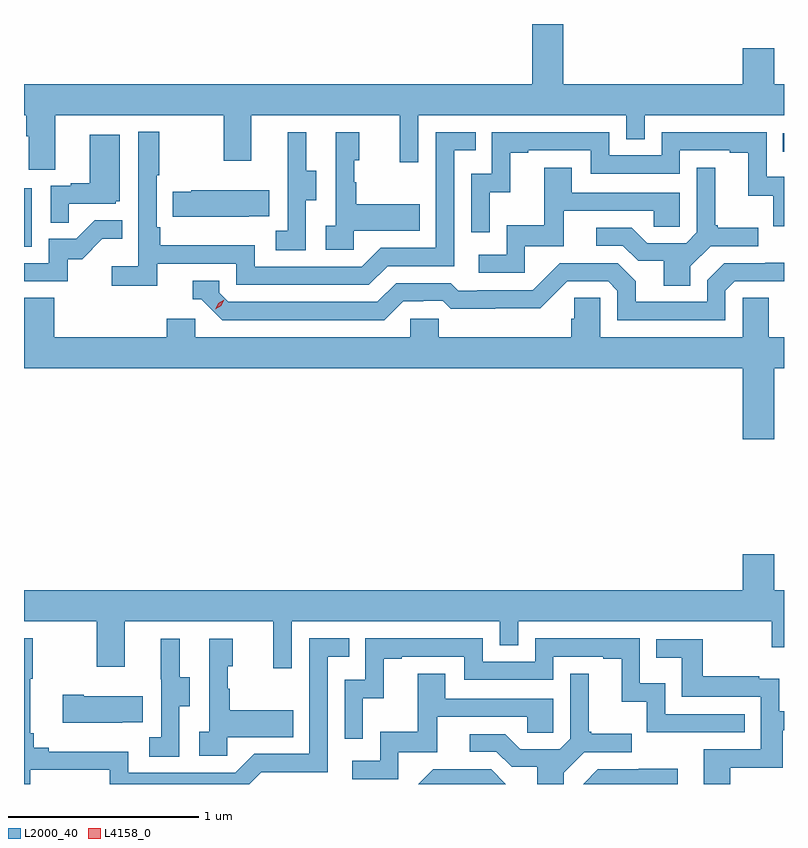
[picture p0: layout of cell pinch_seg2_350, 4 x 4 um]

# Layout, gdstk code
import gdstk
lib = gdstk.Library(unit=1e-6, precision=1e-09)
def R(c, l, rs):  # rectangles x0, y0, x1, y1
    for r in rs: c.add(gdstk.rectangle(r[:2], r[2:], *l))
def P(c, l, *ps):  # polygons
    for p in ps: c.add(gdstk.Polygon(p, *l))
L2000_40 = (2000, 40)
L4158_0 = (4158, 0)

pinch_seg2_350 = lib.new_cell('pinch_seg2_350')
R(pinch_seg2_350, L2000_40, [(964.42,629.628,964.462,629.935), (968.413,630.128,968.42,630.225)])
P(pinch_seg2_350, L2000_40, [(964.585,630.32),(965.47,630.32),(965.47,630.081),(965.617,630.081),(965.617,630.32),(966.398,630.32),(966.398,630.072),(966.495,630.072),(966.495,630.32),(967.59,630.32),(967.59,630.193),(967.686,630.193),(967.686,630.32),(968.42,630.32),(968.42,630.484),(968.368,630.484),(968.368,630.673),(968.204,630.673),(968.204,630.484),(967.258,630.484),(967.258,630.8),(967.094,630.8),(967.094,630.484),(964.42,630.484),(964.42,630.32),(964.433,630.32),(964.433,630.208),(964.445,630.208),(964.445,630.034),(964.585,630.034)],
  [(965.12,629.538),(965.538,629.538),(965.538,629.427),(966.235,629.427),(966.334,629.526),(966.684,629.526),(966.684,630.135),(966.797,630.135),(966.797,630.231),(966.588,630.231),(966.588,629.622),(966.297,629.622),(966.198,629.523),(965.634,629.523),(965.634,629.635),(965.138,629.635),(965.138,629.731),(965.118,629.731),(965.118,630.004),(965.131,630.004),(965.131,630.232),(965.022,630.232),(965.022,629.524),(964.881,629.524),(964.881,629.422),(965.12,629.422)],
  [(966.87,629.915),(966.98,629.915),(966.98,630.123),(967.075,630.123),(967.075,630.135),(967.404,630.135),(967.404,630.012),(967.872,630.012),(967.872,630.135),(968.135,630.135),(968.135,630.123),(968.231,630.123),(968.231,629.897),(968.364,629.897),(968.364,629.736),(968.42,629.736),(968.42,629.995),(968.328,629.995),(968.328,630.231),(967.776,630.231),(967.776,630.108),(967.5,630.108),(967.5,630.231),(966.882,630.231),(966.882,630.012),(966.774,630.012),(966.774,629.703),(966.87,629.703)],
  [(966.156,629.711),(966.503,629.711),(966.503,629.851),(966.169,629.851),(966.169,629.966),(966.159,629.966),(966.159,630.084),(966.184,630.084),(966.184,630.229),(966.06,630.229),(966.06,629.738),(966.009,629.738),(966.009,629.613),(966.156,629.613)],
  [(965.904,629.872),(965.959,629.872),(965.959,630.027),(965.905,630.027),(965.905,630.229),(965.807,630.229),(965.807,630.015),(965.808,630.015),(965.808,629.711),(965.745,629.711),(965.745,629.608),(965.904,629.608)],
  [(964.655,629.853),(964.902,629.853),(964.902,629.868),(964.924,629.868),(964.924,630.217),(964.766,630.217),(964.766,629.962),(964.667,629.962),(964.667,629.949),(964.56,629.949),(964.56,629.755),(964.655,629.755)],
  [(967.927,629.524),(968.034,629.631),(968.284,629.631),(968.284,629.728),(968.071,629.728),(968.071,629.74),(968.059,629.74),(968.059,630.043),(967.962,630.043),(967.962,629.703),(967.905,629.646),(967.699,629.646),(967.618,629.727),(967.431,629.727),(967.431,629.634),(967.572,629.634),(967.652,629.554),(967.787,629.554),(967.787,629.422),(967.927,629.422)],
  [(967.056,629.631),(967.261,629.631),(967.261,629.817),(967.735,629.817),(967.735,629.733),(967.872,629.733),(967.872,629.913),(967.303,629.913),(967.303,630.043),(967.159,630.043),(967.159,629.74),(966.96,629.74),(966.96,629.586),(966.813,629.586),(966.813,629.49),(967.056,629.49)],
  [(965.603,629.789),(965.711,629.789),(965.711,629.926),(965.301,629.926),(965.301,629.916),(965.203,629.916),(965.203,629.786),(965.603,629.786)],
  [(964.65,629.562),(964.726,629.562),(964.833,629.669),(964.937,629.669),(964.937,629.768),(964.793,629.768),(964.695,629.67),(964.551,629.67),(964.551,629.541),(964.42,629.541),(964.42,629.445),(964.65,629.445)],
  [(966.415,629.34),(966.522,629.34),(966.522,629.343),(966.625,629.343),(966.667,629.301),(966.9,629.301),(966.9,629.303),(967.136,629.303),(967.278,629.445),(967.494,629.445),(967.542,629.397),(967.542,629.241),(968.112,629.241),(968.112,629.397),(968.16,629.445),(968.42,629.445),(968.42,629.543),(968.322,629.543),(968.322,629.541),(968.106,629.541),(968.016,629.451),(968.016,629.337),(967.639,629.337),(967.639,629.447),(967.545,629.541),(967.239,629.541),(967.098,629.4),(966.805,629.4),(966.805,629.397),(966.706,629.397),(966.667,629.436),(966.378,629.436),(966.279,629.337),(965.496,629.337),(965.448,629.385),(965.448,629.448),(965.309,629.448),(965.309,629.352),(965.352,629.352),(965.463,629.241),(966.316,629.241)],
  [(965.171,629.25),(965.171,629.152),(964.58,629.152),(964.58,629.36),(964.42,629.36),(964.42,628.988),(968.204,628.988),(968.204,628.614),(968.368,628.614),(968.368,628.988),(968.42,628.988),(968.42,629.152),(968.341,629.152),(968.341,629.36),(968.202,629.36),(968.202,629.152),(967.452,629.152),(967.452,629.36),(967.315,629.36),(967.315,629.25),(967.301,629.25),(967.301,629.152),(966.603,629.152),(966.603,629.25),(966.453,629.25),(966.453,629.152),(965.322,629.152),(965.322,629.25)],
  [(965.829,627.656),(966.924,627.656),(966.924,627.529),(967.02,627.529),(967.02,627.656),(968.356,627.656),(968.356,627.521),(968.42,627.521),(968.42,627.82),(968.368,627.82),(968.368,628.009),(968.204,628.009),(968.204,627.82),(964.42,627.82),(964.42,627.656),(964.804,627.656),(964.804,627.417),(964.951,627.417),(964.951,627.656),(965.732,627.656),(965.732,627.408),(965.829,627.408)],
  [(964.454,626.874),(964.872,626.874),(964.872,626.8),(965.606,626.8),(965.668,626.862),(966.018,626.862),(966.018,627.471),(966.131,627.471),(966.131,627.567),(965.922,627.567),(965.922,626.958),(965.631,626.958),(965.532,626.859),(964.968,626.859),(964.968,626.971),(964.549,626.971),(964.549,626.99),(964.472,626.99),(964.472,627.067),(964.453,627.067),(964.453,627.355),(964.465,627.355),(964.465,627.568),(964.42,627.568),(964.42,626.8),(964.454,626.8)],
  [(966.204,627.251),(966.314,627.251),(966.314,627.459),(966.409,627.459),(966.409,627.471),(966.738,627.471),(966.738,627.348),(967.206,627.348),(967.206,627.471),(967.469,627.471),(967.469,627.459),(967.565,627.459),(967.565,627.233),(967.698,627.233),(967.698,627.072),(968.213,627.072),(968.213,627.168),(967.794,627.168),(967.794,627.331),(967.662,627.331),(967.662,627.567),(967.11,627.567),(967.11,627.444),(966.834,627.444),(966.834,627.567),(966.216,627.567),(966.216,627.348),(966.108,627.348),(966.108,627.039),(966.204,627.039)],
  [(965.49,627.047),(965.837,627.047),(965.837,627.187),(965.503,627.187),(965.503,627.302),(965.493,627.302),(965.493,627.42),(965.518,627.42),(965.518,627.565),(965.394,627.565),(965.394,627.074),(965.343,627.074),(965.343,626.949),(965.49,626.949)],
  [(965.238,627.208),(965.293,627.208),(965.293,627.363),(965.239,627.363),(965.239,627.565),(965.141,627.565),(965.141,627.351),(965.142,627.351),(965.142,627.047),(965.079,627.047),(965.079,626.944),(965.238,626.944)],
  [(968.137,626.886),(968.414,626.886),(968.414,627.082),(968.42,627.082),(968.42,627.183),(968.394,627.183),(968.394,627.355),(968.291,627.355),(968.291,627.367),(967.993,627.367),(967.993,627.561),(967.747,627.561),(967.747,627.464),(967.882,627.464),(967.882,627.258),(968.298,627.258),(968.298,626.982),(967.997,626.982),(967.997,626.8),(968.137,626.8)],
  [(967.261,626.86),(967.368,626.967),(967.618,626.967),(967.618,627.064),(967.405,627.064),(967.405,627.076),(967.393,627.076),(967.393,627.379),(967.296,627.379),(967.296,627.039),(967.239,626.982),(967.033,626.982),(966.952,627.063),(966.765,627.063),(966.765,626.97),(966.906,626.97),(966.986,626.89),(967.121,626.89),(967.121,626.8),(967.261,626.8)],
  [(966.39,626.967),(966.595,626.967),(966.595,627.153),(967.069,627.153),(967.069,627.069),(967.206,627.069),(967.206,627.249),(966.637,627.249),(966.637,627.379),(966.493,627.379),(966.493,627.076),(966.294,627.076),(966.294,626.922),(966.147,626.922),(966.147,626.826),(966.39,626.826)],
  [(964.937,627.125),(965.045,627.125),(965.045,627.262),(964.735,627.262),(964.735,627.27),(964.623,627.27),(964.623,627.122),(964.937,627.122)],
  [(967.861,626.879),(967.656,626.879),(967.656,626.877),(967.44,626.877),(967.363,626.8),(967.861,626.8)],
  [(966.879,626.877),(966.573,626.877),(966.496,626.8),(966.956,626.8)])
P(pinch_seg2_350, L4158_0, [(965.426,629.298),(965.426,629.299),(965.442,629.331),(965.473,629.35),(965.474,629.35),(965.474,629.349),(965.457,629.317),(965.426,629.298)])

lib.write_gds('pinch_seg2_350.gds')
